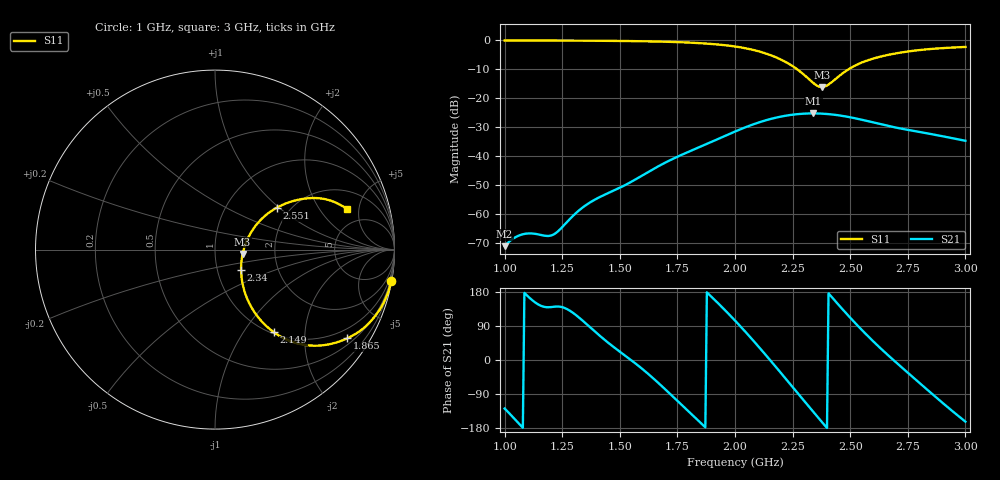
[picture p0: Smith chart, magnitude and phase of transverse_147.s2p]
! TOUCHSTONE file generated by CST MICROWAVE STUDIO
! Date and time: Tue Mar 11 13:57:10 2025
! Project name: transverse.cst
! Parameters = {Fracture=1; B=10; D=160; F=5; Feed=2.85625; L=100; M=10; R=0.384908; S=2; Theta=180; length=57.125; wave=114.25}
! Header version: 2024
! Port assignment regex: !\s*Touchstone port\s*([0-9]+)\s*=\s*(CST MWS port|CST DES external port|CST DES block port)\s*(.+)\s* \(\"(.*)\"\)(\s*mode\s*([0-9]+))?.*
! Touchstone port assignment:
! Touchstone port 1 = CST MWS port 1 ("")
! Touchstone port 2 = CST MWS port 2 ("")
# GHz S MA R 50
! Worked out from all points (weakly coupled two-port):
!   304 points, 1 GHz to 3 GHz, reference 50 ohm
!   highest |S21| = -25.27 dB at 2.34 GHz (marker M1); lowest = -71.2 dB at 1 GHz (marker M2)
!   lowest |S11| = -16.2 dB at 2.38 GHz (marker M3), VSWR 1.37, Z = 68.1 - j3.44 ohm
!   |S11| at or under -10 dB: 2.27 GHz to 2.493 GHz (222.8 MHz wide, 9.36 % of centre)
!   S12 and S22 are empty: the file has one direction only
!   S11 on the Smith chart (normalised r, x): 1 GHz: 0, -11; 1.865 GHz: 0.68, -3.15; 2.149 GHz: 1.02, -1.39; 2.34 GHz: 1.30, -0.30; 2.551 GHz: 1.70, +0.96; 3 GHz: 3.40, +3.76
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1  0.9979 -10.0  0.0002747 -128.1  0 0.0  0 0.0
1.0396  0.9973 -10.6  0.0003772 -153.1  0 0.0  0 0.0
1.07921  0.9966 -11.1  0.0004419 -178.8  0 0.0  0 0.0
1.11881  0.9959 -11.7  0.0004558 158.4  0 0.0  0 0.0
1.18482  0.995 -12.8  0.0004124 139.2  0 0.0  0 0.0
1.21122  0.9945 -13.2  0.0004351 140.4  0 0.0  0 0.0
1.33663  0.9898 -15.6  0.001263 105.0  0 0.0  0 0.0
1.39604  0.9868 -16.8  0.001794 73.0  0 0.0  0 0.0
1.52805  0.9763 -20.2  0.003207 9.3  0 0.0  0 0.0
1.66667  0.9555 -24.7  0.00661 -60.2  0 0.0  0 0.0
1.86469  0.8869 -33.9  0.01535 -173.8  0 0.0  0 0.0
2.0033  0.7817 -43.2  0.0268 102.0  0 0.0  0 0.0
2.14851  0.5666 -54.5  0.04305 2.5  0 0.0  0 0.0
2.24752  0.3643 -57.6  0.05165 -69.4  0 0.0  0 0.0
2.33993  0.1833 -37.6  0.05452 -136.9  0 0.0  0 0.0
2.37954  0.1557 -9.1  0.05394 -165.4  0 0.0  0 0.0
2.40594  0.1722 10.2  0.05299 175.9  0 0.0  0 0.0
2.46535  0.2664 30.8  0.04945 134.8  0 0.0  0 0.0
2.55116  0.4151 34.2  0.04228 78.8  0 0.0  0 0.0
2.66997  0.5672 29.9  0.03277 9.5  0 0.0  0 0.0
2.83498  0.7024 22.7  0.0246 -78.7  0 0.0  0 0.0
3  0.7707 16.9  0.01832 -162.7  0 0.0  0 0.0
